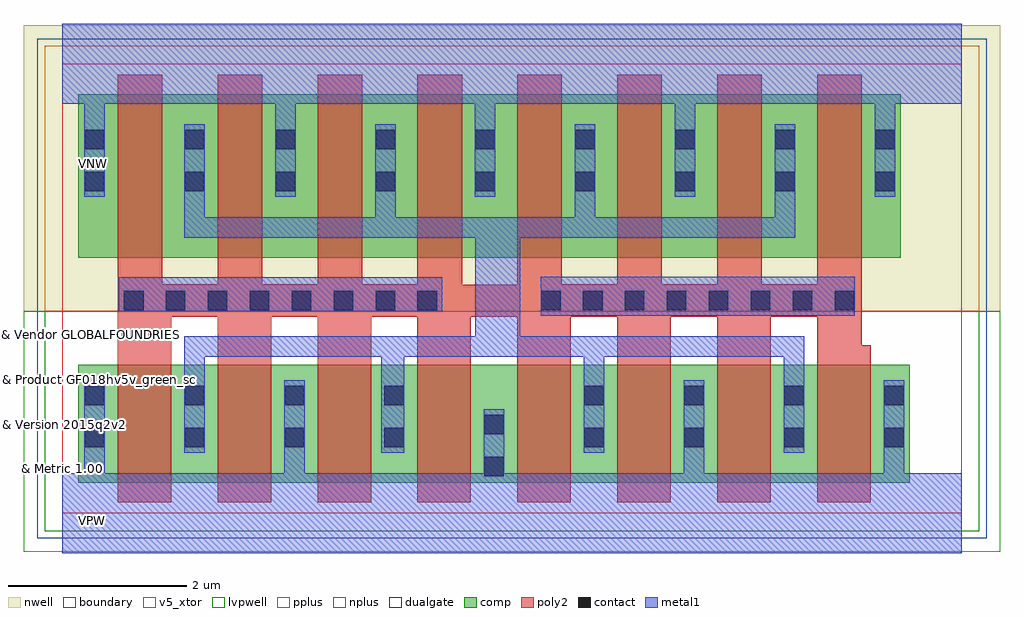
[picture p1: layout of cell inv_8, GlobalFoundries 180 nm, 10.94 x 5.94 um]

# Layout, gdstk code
import gdstk
lib = gdstk.Library(unit=1e-6, precision=1e-09)
def R(c, l, rs):  # rectangles x0, y0, x1, y1
    for r in rs: c.add(gdstk.rectangle(r[:2], r[2:], *l))
def A(c, l, x, y, w, h, nx, ny, dx, dy):  # array of equal rectangles
    R(c, l, [(x+i*dx, y+j*dy, x+i*dx+w, y+j*dy+h) for i in range(nx) for j in range(ny)])
def P(c, l, *ps):  # polygons
    for p in ps: c.add(gdstk.Polygon(p, *l))
boundary = (0, 0)
nwell = (21, 0)
comp = (22, 0)
poly2 = (30, 0)
pplus = (31, 0)
nplus = (32, 0)
contact = (33, 0)
metal1 = (34, 0)
dualgate = (55, 0)
v5_xtor = (112, 1)
lvpwell = (204, 0)

inv_8 = lib.new_cell('inv_8')
R(inv_8, boundary, [(22.97,23.615,33.05,28.655)])
R(inv_8, nwell, [(22.54,25.88,33.48,29.085)])
R(inv_8, comp, [(23.15,23.96,32.47,25.28), (23.15,26.48,32.37,28.31)])
P(inv_8, poly2, [(23.59,23.74),(23.59,28.53),(24.09,28.53),(24.09,26.18),(24.71,26.18),(24.71,28.53),(25.21,28.53),(25.21,26.18),(25.83,26.18),(25.83,28.53),(26.33,28.53),(26.33,26.18),(26.95,26.18),(26.95,28.53),(27.45,28.53),(27.45,26.175),(28.07,26.175),(28.07,28.53),(28.57,28.53),(28.57,26.18),(29.19,26.18),(29.19,28.53),(29.69,28.53),(29.69,26.18),(30.31,26.18),(30.31,28.53),(30.81,28.53),(30.81,26.18),(31.43,26.18),(31.43,28.53),(31.93,28.53),(31.93,25.5),(32.03,25.5),(32.03,23.74),(31.43,23.74),(31.43,25.82),(30.91,25.82),(30.91,23.74),(30.31,23.74),(30.31,25.82),(29.79,25.82),(29.79,23.74),(29.19,23.74),(29.19,25.82),(28.67,25.82),(28.67,23.74),(28.07,23.74),(28.07,25.82),(27.55,25.82),(27.55,23.74),(26.95,23.74),(26.95,25.82),(26.43,25.82),(26.43,23.74),(25.83,23.74),(25.83,25.82),(25.31,25.82),(25.31,23.74),(24.71,23.74),(24.71,25.82),(24.19,25.82),(24.19,23.74)])
R(inv_8, pplus, [(22.77,25.88,33.25,28.855)])
R(inv_8, nplus, [(22.77,23.415,33.25,25.88)])
A(inv_8, contact, 23.22, 24.355, 0.22, 0.22, 4, 2, 1.12, 0.47)
A(inv_8, contact, 28.82, 24.355, 0.22, 0.22, 4, 2, 1.12, 0.47)
A(inv_8, contact, 23.66, 25.89, 0.22, 0.22, 8, 1, 0.47, 0)
A(inv_8, contact, 28.335, 25.89, 0.22, 0.22, 8, 1, 0.47, 0)
A(inv_8, contact, 25.36, 27.225, 0.22, 0.22, 7, 2, 1.12, 0.47)
R(inv_8, contact, [(27.7,24.03,27.92,24.25), (27.7,24.5,27.92,24.72), (23.22,27.225,23.44,27.445), (24.34,27.225,24.56,27.445), (23.22,27.695,23.44,27.915), (24.34,27.695,24.56,27.915)])
R(inv_8, metal1, [(28.33,25.83,31.85,26.265), (23.6,25.88,27.23,26.26)])
P(inv_8, metal1, [(24.335,24.295),(24.335,25.6),(27.6,25.6),(27.6,26.705),(24.335,26.705),(24.335,27.975),(24.565,27.975),(24.565,26.935),(26.475,26.935),(26.475,27.975),(26.705,27.975),(26.705,26.935),(28.715,26.935),(28.715,27.975),(28.945,27.975),(28.945,26.935),(30.955,26.935),(30.955,27.975),(31.185,27.975),(31.185,26.705),(28.1,26.705),(28.1,25.6),(31.285,25.6),(31.285,24.295),(31.055,24.295),(31.055,25.37),(29.045,25.37),(29.045,24.295),(28.815,24.295),(28.815,25.37),(26.805,25.37),(26.805,24.295),(26.545,24.295),(26.545,25.37),(24.565,25.37),(24.565,24.295)],
  [(22.97,23.165),(22.97,24.065),(23.215,24.065),(23.215,25.105),(23.445,25.105),(23.445,24.065),(25.455,24.065),(25.455,25.105),(25.685,25.105),(25.685,24.065),(27.695,24.065),(27.695,24.78),(27.925,24.78),(27.925,24.065),(29.935,24.065),(29.935,25.105),(30.165,25.105),(30.165,24.065),(32.175,24.065),(32.175,25.105),(32.405,25.105),(32.405,24.065),(33.05,24.065),(33.05,23.165)],
  [(23.215,27.165),(23.215,28.205),(22.97,28.205),(22.97,29.105),(33.05,29.105),(33.05,28.205),(32.305,28.205),(32.305,27.165),(32.075,27.165),(32.075,28.205),(30.065,28.205),(30.065,27.165),(29.835,27.165),(29.835,28.205),(27.825,28.205),(27.825,27.165),(27.595,27.165),(27.595,28.205),(25.585,28.205),(25.585,27.165),(25.355,27.165),(25.355,28.205),(23.445,28.205),(23.445,27.165)])
R(inv_8, dualgate, [(22.69,23.335,33.33,28.935)])
R(inv_8, v5_xtor, [(22.97,23.615,33.05,28.655)])
R(inv_8, lvpwell, [(22.54,23.185,33.48,25.88)])
inv_8.add(gdstk.Label('& Vendor GLOBALFOUNDRIES', (22.97,25.615), layer=63, texttype=63))
inv_8.add(gdstk.Label('& Product GF018hv5v_green_sc9', (22.97,25.115), layer=63, texttype=63))
inv_8.add(gdstk.Label('& Version 2015q2v2', (22.97,24.615), layer=63, texttype=63))
inv_8.add(gdstk.Label('& Metric 1.00', (22.97,24.115), layer=63, texttype=63))
inv_8.add(gdstk.Label('VNW', (23.315,27.535), layer=21, texttype=10))
inv_8.add(gdstk.Label('VPW', (23.31,23.53), layer=204, texttype=10))

lib.write_gds('inv_8.gds')
